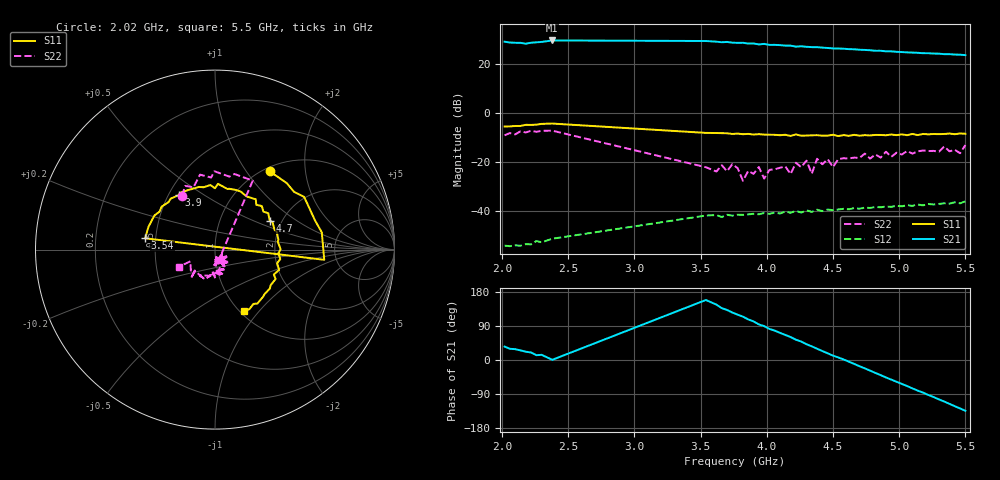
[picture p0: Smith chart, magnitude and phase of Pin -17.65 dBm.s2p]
! RsaToolbox (C) 2015 Rohde & Schwarz America
! Number of points: 58
! Number of ports: 2
! Balanced ports?: No
# Hz S RI R 50
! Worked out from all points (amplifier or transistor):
!   58 points, 2.02 GHz to 5.5 GHz, reference 50 ohm
!   highest |S21| = 29.7 dB at 2.38 GHz (marker M1)
!   |S21| within 3 dB of that: start of sweep to 4.44 GHz
!   unconditionally stable (mu >= 1): start of sweep to end of sweep
!   at 3.54 GHz: K = 1.90, MAG = 30.2 dB, |S12| = -41.9 dB
!   at 4.38 GHz: K = 1.91, MAG = 27.7 dB, |S12| = -39.5 dB
!   at 5.5 GHz: K = 1.75, MAG = 24.8 dB, |S12| = -36.0 dB
!   S11 on the Smith chart (normalised r, x): 2.02 GHz: 1.06, +1.29; 3.54 GHz: 0.44, +0.07; 3.9 GHz: 0.56, +0.39; 4.7 GHz: 1.73, +0.64; 5.5 GHz: 1.05, -0.84
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2.02e9  0.3043 0.4359  23.39 16.68  -0.000345 -0.00193  -0.1847 0.299
2.06e9  0.3462 0.4078  24.1 13.6  -0.000574 -0.00182  -0.1663 0.355
2.18e9  0.4964 0.2937  24.25 9.763  -0.00053 -0.00204  -0.0216 0.4016
2.22e9  0.5293 0.2235  25.82 9.317  -0.000463 -0.00202  -0.00314 0.4365
2.26e9  0.5564 0.1641  27.23 6.148  -0.000733 -0.00232  0.0797 0.4067
2.3e9  0.5949 0.0958  27.68 6.703  -0.000589 -0.00222  0.1082 0.4213
2.38e9  0.6087 -0.0569  30.48 0.2634  -0.000895 -0.00256  0.2104 0.3841
3.54e9  -0.3891 0.0631  -27.59 10.96  -0.00162 0.00791  0.013 -0.0774
3.62e9  -0.3706 0.1273  -23.91 16.05  -0.000229 0.00825  0.0408 -0.0495
3.66e9  -0.3596 0.1482  -20.43 19.16  0.000315 0.00753  -0.00486 -0.086
3.78e9  -0.297 0.2394  -13.47 23.64  0.00261 0.00802  0.0471 -0.0584
3.9e9  -0.2031 0.3033  -5.434 25.87  0.00437 0.00763  0.0185 -0.0544
3.98e9  -0.1434 0.334  0.2655 25.94  0.00572 0.00707  0.0395 -0.0236
4.1e9  -0.064 0.3472  7.732 23.21  0.0072 0.00517  0.0284 -0.071
4.18e9  -0.000307 0.3417  11.74 20.84  0.00823 0.00411  -0.000145 -0.0569
4.34e9  0.1171 0.3319  18.02 13.07  0.00948 0.0015  0.0238 -0.0526
4.54e9  0.2301 0.2498  20.68 2.451  0.0104 -0.00274  0.0214 -0.1128
4.7e9  0.3047 0.162  18.89 -5.57  0.00907 -0.00648  -0.000358 -0.1211
4.94e9  0.3655 0.00227  11.32 -14.33  0.0059 -0.0107  -0.00673 -0.1277
5.22e9  0.3098 -0.1986  -0.6452 -16.71  -0.00113 -0.0139  -0.084 -0.1452
5.38e9  0.2362 -0.3009  -6.948 -14.41  -0.00562 -0.013  -0.1119 -0.1218
5.5e9  0.1638 -0.3406  -10.64 -10.96  -0.0091 -0.0129  -0.2012 -0.0952
